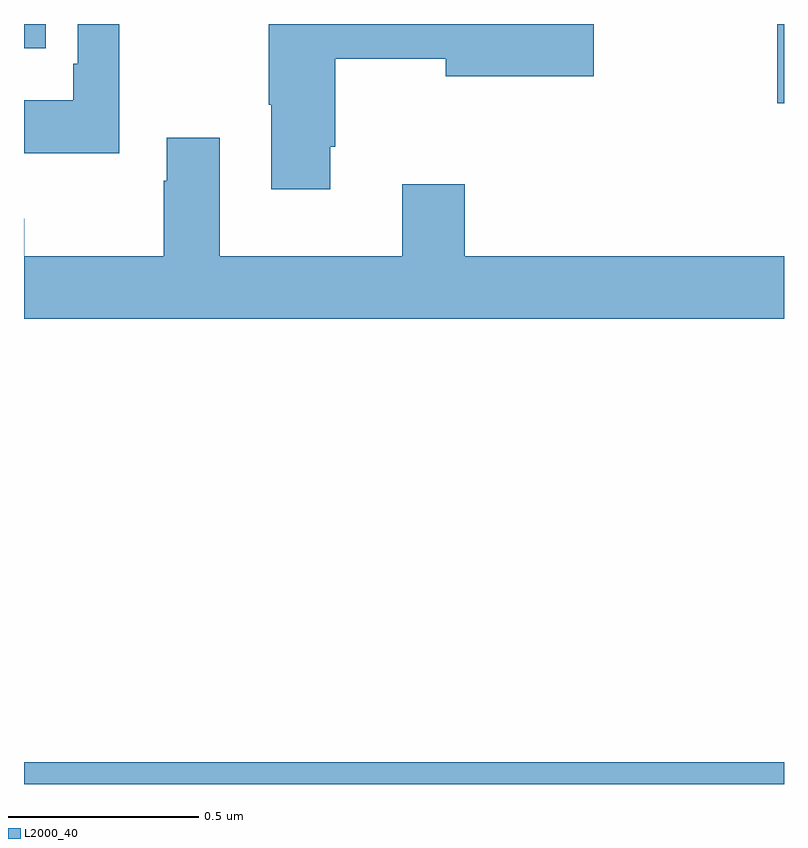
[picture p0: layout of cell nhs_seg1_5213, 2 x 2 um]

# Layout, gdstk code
import gdstk
lib = gdstk.Library(unit=1e-6, precision=1e-09)
def R(c, l, rs):  # rectangles x0, y0, x1, y1
    for r in rs: c.add(gdstk.rectangle(r[:2], r[2:], *l))
def P(c, l, *ps):  # polygons
    for p in ps: c.add(gdstk.Polygon(p, *l))
L2000_40 = (2000, 40)

nhs_seg1_5213 = lib.new_cell('nhs_seg1_5213')
R(nhs_seg1_5213, L2000_40, [(176,525.199,178,525.256), (177.982,526.99,178,527.199), (176,527.135,176.057,527.199)])
P(nhs_seg1_5213, L2000_40, [(176.251,527.199),(176.142,527.199),(176.142,527.095),(176.13,527.095),(176.13,526.999),(176,526.999),(176,526.859),(176.251,526.859)],
  [(176.806,526.876),(176.819,526.876),(176.819,527.108),(177.11,527.108),(177.11,527.062),(177.499,527.062),(177.499,527.199),(176.644,527.199),(176.644,526.987),(176.651,526.987),(176.651,526.764),(176.806,526.764)],
  [(178,526.588),(177.16,526.588),(177.16,526.777),(176.996,526.777),(176.996,526.588),(176.515,526.588),(176.515,526.9),(176.375,526.9),(176.375,526.787),(176.368,526.787),(176.368,526.588),(176.001,526.588),(176.001,526.687),(176,526.687),(176,526.424),(178,526.424)])

lib.write_gds('nhs_seg1_5213.gds')
